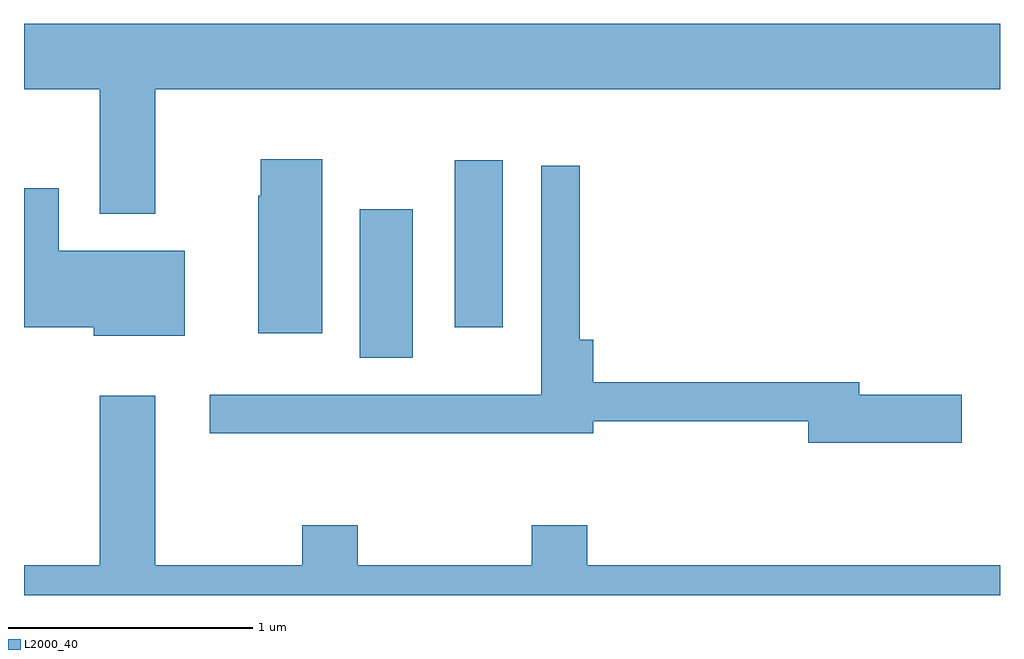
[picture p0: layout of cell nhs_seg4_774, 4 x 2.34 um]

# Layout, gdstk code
import gdstk
lib = gdstk.Library(unit=1e-6, precision=1e-09)
def R(c, l, rs):  # rectangles x0, y0, x1, y1
    for r in rs: c.add(gdstk.rectangle(r[:2], r[2:], *l))
def P(c, l, *ps):  # polygons
    for p in ps: c.add(gdstk.Polygon(p, *l))
L2000_40 = (2000, 40)

nhs_seg4_774 = lib.new_cell('nhs_seg4_774')
R(nhs_seg4_774, L2000_40, [(208.986,1306.956,209.204,1307.564), (209.376,1307.081,209.574,1307.764)])
P(nhs_seg4_774, L2000_40, [(208.149,1308.056),(211.611,1308.056),(211.611,1308.324),(207.611,1308.324),(207.611,1308.056),(207.921,1308.056),(207.921,1307.546),(208.149,1307.546)],
  [(208.834,1307.769),(208.581,1307.769),(208.581,1307.62),(208.571,1307.62),(208.571,1307.056),(208.834,1307.056)],
  [(211.454,1306.804),(211.034,1306.804),(211.034,1306.854),(209.944,1306.854),(209.944,1307.029),(209.889,1307.029),(209.889,1307.743),(209.731,1307.743),(209.731,1306.804),(208.373,1306.804),(208.373,1306.646),(209.944,1306.646),(209.944,1306.696),(210.826,1306.696),(210.826,1306.606),(211.454,1306.606)],
  [(208.269,1307.394),(207.754,1307.394),(207.754,1307.649),(207.611,1307.649),(207.611,1307.081),(207.896,1307.081),(207.896,1307.046),(208.269,1307.046)],
  [(211.611,1306.104),(209.919,1306.104),(209.919,1306.269),(209.691,1306.269),(209.691,1306.104),(208.979,1306.104),(208.979,1306.269),(208.751,1306.269),(208.751,1306.104),(208.149,1306.104),(208.149,1306.799),(207.921,1306.799),(207.921,1306.104),(207.611,1306.104),(207.611,1305.982),(211.611,1305.982)])

lib.write_gds('nhs_seg4_774.gds')
